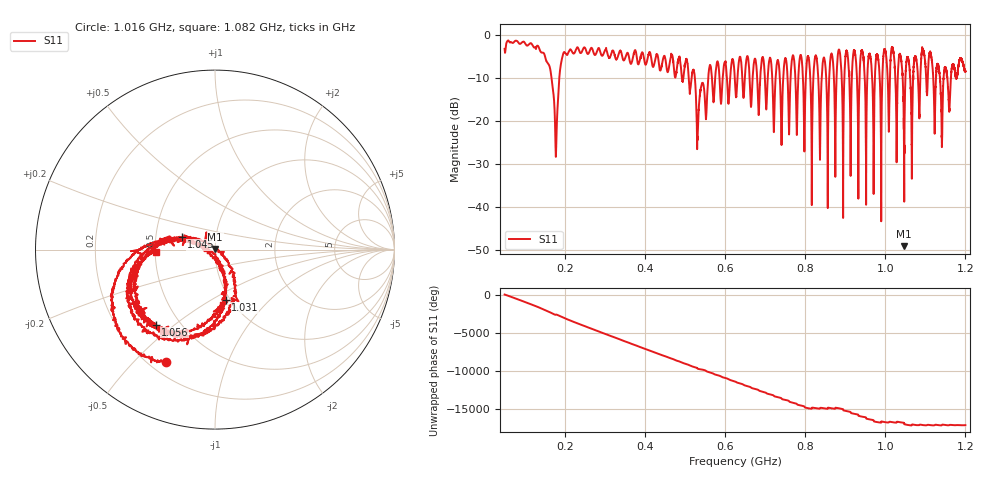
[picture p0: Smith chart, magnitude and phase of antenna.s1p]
! Calibrated high-resolution NanoVNA antenna measurement
# Hz S RI R 50
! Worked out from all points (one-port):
!   40001 points, 50 MHz to 1.2 GHz, reference 50 ohm
!   lowest |S11| = -49.2 dB at 1.047 GHz (marker M1), VSWR 1.01, Z = 50.1 + j0.332 ohm
!   |S11| at or under -10 dB: 167 MHz to 186.5 MHz (19.56 MHz wide, 11.1 % of centre); 524.8 MHz to 558.2 MHz (33.37 MHz wide, 6.16 % of centre); 1.136 GHz to 1.146 GHz (9.085 MHz wide, 0.796 % of centre)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
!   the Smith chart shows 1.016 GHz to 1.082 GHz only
!   S11 on the Smith chart (normalised r, x): 1.016 GHz: 0.26, -0.62; 1.031 GHz: 0.95, -0.58; 1.045 GHz: 0.68, +0.10; 1.056 GHz: 0.37, -0.43; 1.082 GHz: 0.51, -0.01
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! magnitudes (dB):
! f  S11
! 50 MHz  -3.3
! 146.7 MHz  -4.2
! 178.1 MHz  -28.3
! 193.8 MHz  -5.3
! 337.5 MHz  -3.8
! 481.2 MHz  -6.9
! 532.5 MHz  -21.5
! 562.4 MHz  -7.1
! 625 MHz  -11.0
! 741.2 MHz  -25.3
! 768.8 MHz  -5.0
! 816.7 MHz  -39.7
! 827 MHz  -4.8
! 837.1 MHz  -29.0
! 884.8 MHz  -3.4
! 895 MHz  -31.6
! 904.2 MHz  -3.8
! 912.5 MHz  -19.5
! 922.7 MHz  -3.7
! 970.3 MHz  -23.3
! 1.016 GHz  -3.3
! 1.031 GHz  -10.9
! 1.045 GHz  -14.0
! 1.047 GHz  -49.2
! 1.056 GHz  -5.5
! 1.056 GHz  -5.4
! 1.082 GHz  -9.7
! 1.2 GHz  -8.5
